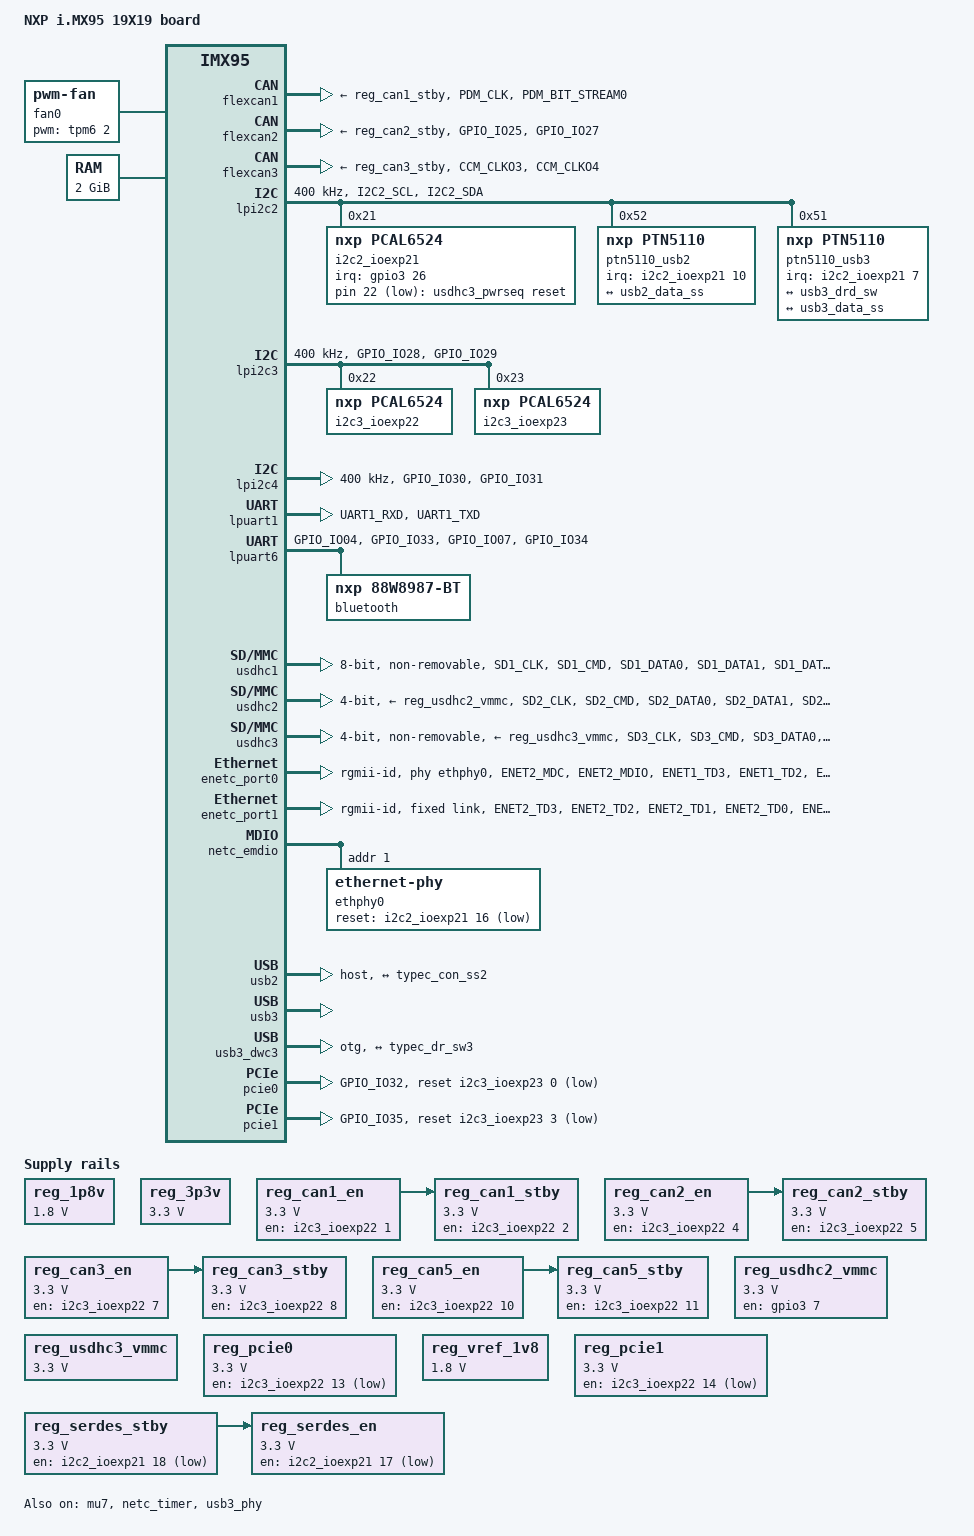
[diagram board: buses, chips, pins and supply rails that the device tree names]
// SPDX-License-Identifier: (GPL-2.0+ OR MIT)
/*
 * Copyright 2023 NXP
 */

/dts-v1/;

#include <dt-bindings/phy/phy-imx8-pcie.h>
#include <dt-bindings/pwm/pwm.h>
#include <dt-bindings/usb/pd.h>
#include "imx95.dtsi"

#define FALLING_EDGE		BIT(0)
#define RISING_EDGE		BIT(1)

#define BRD_SM_CTRL_SD3_WAKE		0x8000	/*!< PCAL6408A-0 */
#define BRD_SM_CTRL_PCIE1_WAKE		0x8001	/*!< PCAL6408A-4 */
#define BRD_SM_CTRL_BT_WAKE		0x8002	/*!< PCAL6408A-5 */
#define BRD_SM_CTRL_PCIE2_WAKE		0x8003	/*!< PCAL6408A-6 */
#define BRD_SM_CTRL_BUTTON		0x8004	/*!< PCAL6408A-7 */

/ {
	model = "NXP i.MX95 19X19 board";
	compatible = "fsl,imx95-19x19-evk", "fsl,imx95";

	aliases {
		ethernet0 = &enetc_port0;
		ethernet1 = &enetc_port2;
	};

	chosen {
		stdout-path = &lpuart1;
		#address-cells = <2>;
		#size-cells = <2>;
		/* will be updated by U-boot when booting Xen */
		module@0 {
			bootargs = "earlycon=xen console=hvc0 loglevel=8 root=/dev/mmcblk1p2 rw rootwait";
			compatible = "xen,linux-zimage", "xen,multiboot-module";
			reg = <0x00000000 0x9e000000 0x00000000 0x2000000>;
		};
	};

	fan0: pwm-fan {
		compatible = "pwm-fan";
		cooling-min-state = <0>;
		cooling-max-state = <3>;
		#cooling-cells = <2>;
		pwms = <&tpm6 2 4000000 PWM_POLARITY_INVERTED>;
		cooling-levels = <64 128 192 255>;
	};

	memory@80000000 {
		device_type = "memory";
		reg = <0x0 0x80000000 0 0x80000000>;
	};

	reserved-memory {
		#address-cells = <2>;
		#size-cells = <2>;
		ranges;

		linux_cma: linux,cma {
			compatible = "shared-dma-pool";
			reusable;
			size = <0 0x3c000000>;
			alloc-ranges = <0 0x80000000 0 0x7F000000>;
			linux,cma-default;
		};

		vpu_boot: vpu_boot@a0000000 {
			reg = <0 0xa0000000 0 0x100000>;
			no-map;
		};

		vdev0vring0: vdev0vring0@88000000 {
			reg = <0 0x88000000 0 0x8000>;
			no-map;
		};

		vdev0vring1: vdev0vring1@88008000 {
			reg = <0 0x88008000 0 0x8000>;
			no-map;
		};

		vdev1vring0: vdev1vring0@88010000 {
			reg = <0 0x88010000 0 0x8000>;
			no-map;
		};

		vdev1vring1: vdev1vring1@88018000 {
			reg = <0 0x88018000 0 0x8000>;
			no-map;
		};

		rsc_table: rsc-table@88220000 {
			reg = <0 0x88220000 0 0x1000>;
			no-map;
		};

		vdevbuffer: vdevbuffer@88020000 {
			compatible = "shared-dma-pool";
			reg = <0 0x88020000 0 0x100000>;
			no-map;
		};

		m7text: m7text@90000000 {
			reg = <0 0x90000000 0 0x400000>;
			no-map;
		};
	};

	reg_1p8v: regulator-1p8v {
		compatible = "regulator-fixed";
		regulator-max-microvolt = <1800000>;
		regulator-min-microvolt = <1800000>;
		regulator-name = "+V1.8_SW";
	};

	reg_3p3v: regulator-3p3v {
		compatible = "regulator-fixed";
		regulator-max-microvolt = <3300000>;
		regulator-min-microvolt = <3300000>;
		regulator-name = "+V3.3_SW";
	};

	reg_can1_stby: regulator-can1-stby {
		compatible = "regulator-fixed";
		regulator-name = "can1-stby";
		regulator-min-microvolt = <3300000>;
		regulator-max-microvolt = <3300000>;
		gpio = <&i2c3_ioexp22 2 GPIO_ACTIVE_HIGH>;
		enable-active-high;
		vin-supply = <&reg_can1_en>;
	};

	reg_can1_en: regulator-can1-en {
		compatible = "regulator-fixed";
		regulator-name = "can1-en";
		regulator-min-microvolt = <3300000>;
		regulator-max-microvolt = <3300000>;
		gpio = <&i2c3_ioexp22 1 GPIO_ACTIVE_HIGH>;
		enable-active-high;
	};

	reg_can2_stby: regulator-can2-stby {
		compatible = "regulator-fixed";
		regulator-name = "can2-stby";
		regulator-min-microvolt = <3300000>;
		regulator-max-microvolt = <3300000>;
		gpio = <&i2c3_ioexp22 5 GPIO_ACTIVE_HIGH>;
		enable-active-high;
		vin-supply = <&reg_can2_en>;
	};

	reg_can2_en: regulator-can2-en {
		compatible = "regulator-fixed";
		regulator-name = "can2-en";
		regulator-min-microvolt = <3300000>;
		regulator-max-microvolt = <3300000>;
		gpio = <&i2c3_ioexp22 4 GPIO_ACTIVE_HIGH>;
		enable-active-high;
	};

	reg_can3_stby: regulator-can3-stby {
		compatible = "regulator-fixed";
		regulator-name = "can3-stby";
		regulator-min-microvolt = <3300000>;
		regulator-max-microvolt = <3300000>;
		gpio = <&i2c3_ioexp22 8 GPIO_ACTIVE_HIGH>;
		enable-active-high;
		vin-supply = <&reg_can3_en>;
	};

	reg_can3_en: regulator-can3-en {
		compatible = "regulator-fixed";
		regulator-name = "can3-en";
		regulator-min-microvolt = <3300000>;
		regulator-max-microvolt = <3300000>;
		gpio = <&i2c3_ioexp22 7 GPIO_ACTIVE_HIGH>;
		enable-active-high;
	};

	reg_can5_stby: regulator-can5-stby {
		compatible = "regulator-fixed";
		regulator-name = "can5-stby";
		regulator-min-microvolt = <3300000>;
		regulator-max-microvolt = <3300000>;
		gpio = <&i2c3_ioexp22 11 GPIO_ACTIVE_HIGH>;
		enable-active-high;
		vin-supply = <&reg_can5_en>;
	};

	reg_can5_en: regulator-can5-en {
		compatible = "regulator-fixed";
		regulator-name = "can5-en";
		regulator-min-microvolt = <3300000>;
		regulator-max-microvolt = <3300000>;
		gpio = <&i2c3_ioexp22 10 GPIO_ACTIVE_HIGH>;
		enable-active-high;
	};

	reg_usdhc2_vmmc: regulator-usdhc2 {
		compatible = "regulator-fixed";
		pinctrl-names = "default";
		pinctrl-0 = <&pinctrl_reg_usdhc2_vmmc>;
		regulator-name = "VDD_SD2_3V3";
		regulator-min-microvolt = <3300000>;
		regulator-max-microvolt = <3300000>;
		gpio = <&gpio3 7 GPIO_ACTIVE_HIGH>;
		off-on-delay-us = <12000>;
		enable-active-high;
	};

	reg_usdhc3_vmmc: regulator-usdhc3 {
		compatible = "regulator-fixed";
		regulator-name = "vmmcusdhc3_fixed";
		regulator-min-microvolt = <3300000>;
		regulator-max-microvolt = <3300000>;
	};

	usdhc3_pwrseq: usdhc3-pwrseq {
		compatible = "mmc-pwrseq-simple";
		reset-gpios = <&i2c2_ioexp21 22 GPIO_ACTIVE_LOW>;
		post-power-on-delay-ms = <200>;
	};

	reg_pcie0: regulator-pcie0 {
		compatible = "regulator-fixed";
		regulator-name = "SLOT_PWREN_SDD";
		regulator-min-microvolt = <3300000>;
		regulator-max-microvolt = <3300000>;
		gpio = <&i2c3_ioexp22 13 GPIO_ACTIVE_LOW>;
		enable-active-low;
		regulator-always-on;
	};

	reg_vref_1v8: regulator-adc-vref {
		compatible = "regulator-fixed";
		regulator-name = "vref_1v8";
		regulator-min-microvolt = <1800000>;
		regulator-max-microvolt = <1800000>;
	};

	reg_pcie1: regulator-pcie1 {
		compatible = "regulator-fixed";
		regulator-name = "SLOT_PWREN_5G";
		regulator-min-microvolt = <3300000>;
		regulator-max-microvolt = <3300000>;
		gpio = <&i2c3_ioexp22 14 GPIO_ACTIVE_LOW>;
		enable-active-low;
		regulator-always-on;
	};

	reg_serdes_stby: regulator-mac-stby {
		compatible = "regulator-fixed";
		regulator-name = "mac-stby";
		regulator-min-microvolt = <3300000>;
		regulator-max-microvolt = <3300000>;
		gpio = <&i2c2_ioexp21 18 GPIO_ACTIVE_LOW>;
	};

	reg_serdes_en: regulator-mac-en {
		compatible = "regulator-fixed";
		regulator-name = "mac-en";
		regulator-min-microvolt = <3300000>;
		regulator-max-microvolt = <3300000>;
		vin-supply = <&reg_serdes_stby>;
		gpio = <&i2c2_ioexp21 17 GPIO_ACTIVE_LOW>;
	};

	cm7: imx95-cm7 {
		compatible = "fsl,imx95-cm7";
		mbox-names = "tx", "rx", "rxdb";
		mboxes = <&mu7 0 1
			  &mu7 1 1
			  &mu7 3 1>;
		memory-region = <&vdevbuffer>, <&vdev0vring0>, <&vdev0vring1>,
				<&vdev1vring0>, <&vdev1vring1>, <&rsc_table>;
		fsl,startup-delay-ms = <50>;
		status = "okay";
	};
};

&adc1 {
	vref-supply = <&reg_vref_1v8>;
	status = "disabled";
};

&displaymix_irqsteer {
	status = "disabled";
};

&dpu {
	status = "disabled";
};

/* The M7 also uses the AON.EDMA and sharing isn't supported yet in Linux */
&edma1 {
	status = "disabled";
};

&tpm3 {
	pinctrl-names = "default";
	pinctrl-0 = <&pinctrl_tpm3>;
	status = "disabled";
};

&tpm6 {
	pinctrl-names = "default";
	pinctrl-0 = <&pinctrl_tpm6>;
	pwm-rst;
	status = "disabled";
};

/* pin conflict with PDM */
&flexcan1 {
	pinctrl-names = "default";
	pinctrl-0 = <&pinctrl_flexcan1>;
	xceiver-supply = <&reg_can1_stby>;
	status = "okay";
};

&flexcan2 {
	pinctrl-names = "default";
	pinctrl-0 = <&pinctrl_flexcan2>;
	xceiver-supply = <&reg_can2_stby>;
	status = "okay";
};

&flexcan3 {
	pinctrl-names = "default";
	pinctrl-0 = <&pinctrl_flexcan3>;
	xceiver-supply = <&reg_can3_stby>;
	status = "okay";
};

&flexcan5 {
	pinctrl-names = "default";
	pinctrl-0 = <&pinctrl_flexcan5>;
	xceiver-supply = <&reg_can5_stby>;
	status = "disabled";
};

&flexspi1 {
	pinctrl-names = "default", "sleep";
	pinctrl-0 = <&pinctrl_flexspi1>;
	pinctrl-1 = <&pinctrl_flexspi1>;
	status = "disabled";

	/* TODO co-existence with M7/M33 if even possible */

	/* TODO: switch to use reset-gpios */
	//reset-gpios = <&gpio5 11 GPIO_ACTIVE_LOW>;

	pinctrl-assert-gpios = <&gpio5 11 GPIO_ACTIVE_HIGH>;

	mt35xu01gbba: flash@0 {
		reg = <0>;
		#address-cells = <1>;
		#size-cells = <1>;
		compatible = "jedec,spi-nor";
		spi-max-frequency = <200000000>;
		spi-tx-bus-width = <8>;
		spi-rx-bus-width = <8>;
	};
};

&lpi2c2 {
	#address-cells = <1>;
	#size-cells = <0>;
	clock-frequency = <400000>;
	pinctrl-names = "default", "sleep";
	pinctrl-0 = <&pinctrl_lpi2c2>;
	pinctrl-1 = <&pinctrl_lpi2c2>;
	/delete-property/ dmas;
	/delete-property/ dma-names;
	status = "okay";

	i2c2_ioexp21: i2c2-gpio@21 {
		compatible = "nxp,pcal6524";
		reg = <0x21>;
		gpio-controller;
		#gpio-cells = <2>;
		pinctrl-names = "default";
		pinctrl-0 = <&pinctrl_i2c2_ioexp21>;
		interrupt-controller;
		#interrupt-cells = <2>;
		interrupt-parent = <&gpio3>;
		interrupts = <26 IRQ_TYPE_EDGE_FALLING>;
		status = "okay";

		sja1110_sw_int_n: sja1110-sw-int-n {
			gpio-hog;
			gpios = <3 (GPIO_ACTIVE_LOW | GPIO_LINE_OPEN_DRAIN | GPIO_PULL_UP)>;
			input;
		};

		usb1_ptn_int_b: usb1-ptn-int-b {
			gpio-hog;
			gpios = <7 (GPIO_ACTIVE_LOW | GPIO_LINE_OPEN_DRAIN | GPIO_PULL_UP)>;
			input;
		};

		usb1_ptn_flt_b: usb1-ptn-flt-b {
			gpio-hog;
			gpios = <8 (GPIO_ACTIVE_LOW | GPIO_LINE_OPEN_DRAIN | GPIO_PULL_UP)>;
			input;
		};

		int_sw_usb1_b: int-sw-usb1-b {
			gpio-hog;
			gpios = <9 (GPIO_ACTIVE_LOW | GPIO_LINE_OPEN_DRAIN)>;
			input;
		};

		usb2_ptn_int_b: usb2-ptn-int-b {
			gpio-hog;
			gpios = <10 (GPIO_ACTIVE_LOW | GPIO_LINE_OPEN_DRAIN | GPIO_PULL_UP)>;
			input;
		};

		usb2_ptn_flt_b: usb2-ptn-flt-b {
			gpio-hog;
			gpios = <11 (GPIO_ACTIVE_LOW | GPIO_LINE_OPEN_DRAIN | GPIO_PULL_UP)>;
			input;
		};

		int_sw_usb2_b: int-sw-usb2-b {
			gpio-hog;
			gpios = <12 (GPIO_ACTIVE_LOW | GPIO_LINE_OPEN_DRAIN)>;
			input;
		};

		eth_clk_en: eth-clk-en {
			gpio-hog;
			gpios = <17 GPIO_ACTIVE_HIGH>;
			output-high;
		};

		si5332_rst: si5332-rst {
			gpio-hog;
			gpios = <18 GPIO_ACTIVE_HIGH>;
			output-low;
		};

		sja1110_rst_n: sja1110-rst-n {
			gpio-hog;
			gpios = <20 GPIO_ACTIVE_LOW>;
			output-low;
		};

		sja1110_rst_core_n: sja1110-rst-core-n {
			gpio-hog;
			gpios = <21 GPIO_ACTIVE_LOW>;
			output-low;
		};

		se_enable: se-enable {
			gpio-hog;
			gpios = <23 GPIO_ACTIVE_HIGH>;
			output-high;
		};
	};

	ptn5110_usb2: tcpc_usb2@52 {
		compatible = "nxp,ptn5110";
		pinctrl-names = "default";
		reg = <0x52>;
		interrupt-parent = <&i2c2_ioexp21>;
		interrupts = <10 IRQ_TYPE_EDGE_FALLING>; // 10 = USB2_PTN_INT_B

		typec_con2: connector {
			compatible = "usb-c-connector";
			label = "USB-C";
			power-role = "source";
			data-role = "dual";
			try-power-role = "source";
			source-pdos = <PDO_FIXED(5000, 3000, PDO_FIXED_USB_COMM)>;
			op-sink-microwatt = <0>;
			self-powered;

			ports {
				#address-cells = <1>;
				#size-cells = <0>;

				port@1 {
					reg = <1>;
					typec_con_ss2: endpoint {
						remote-endpoint = <&usb2_data_ss>;
					};
				};
			};
		};
	};

	ptn5110_usb3: tcpc_usb3@51 {
		compatible = "nxp,ptn5110";
		pinctrl-names = "default";
		reg = <0x51>;
		interrupt-parent = <&i2c2_ioexp21>;
		interrupts = <7 IRQ_TYPE_EDGE_FALLING>; // 7 = USB1_PTN_INT_B

		port {
			typec_dr_sw3: endpoint {
				remote-endpoint = <&usb3_drd_sw>;
			};
		};

		typec_con3: connector {
			compatible = "usb-c-connector";
			label = "USB-C";
			power-role = "source";
			data-role = "dual";
			try-power-role = "source";
			source-pdos = <PDO_FIXED(5000, 3000, PDO_FIXED_USB_COMM)>;
			op-sink-microwatt = <0>;
			self-powered;

			ports {
				#address-cells = <1>;
				#size-cells = <0>;

				port@1 {
					reg = <1>;
					typec_con_ss3: endpoint {
						remote-endpoint = <&usb3_data_ss>;
					};
				};
			};
		};
	};
};

&lpi2c3 {
	#address-cells = <1>;
	#size-cells = <0>;
	clock-frequency = <400000>;
	pinctrl-names = "default", "sleep";
	pinctrl-0 = <&pinctrl_lpi2c3>;
	pinctrl-1 = <&pinctrl_lpi2c3>;
	status = "okay";

	i2c3_ioexp22: i2c3-gpio@22 {
		compatible = "nxp,pcal6524";
		reg = <0x22>;
		gpio-controller;
		#gpio-cells = <2>;
/*
interrupt connected to pcal6416 managed by m33
		pinctrl-names = "default";
		pinctrl-0 = <&pinctrl_i2c3_ioexp22>;
		interrupt-controller;
		#interrupt-cells = <2>;
		interrupt-parent = <&gpio3>;
		interrupts = <26 IRQ_TYPE_LEVEL_LOW>;
*/
		status = "okay";

		can_power_en: can-power-en {
			gpio-hog;
			gpios = <0 GPIO_ACTIVE_HIGH>;
			output-high;
		};

		/* enable can5; used by m7 */

		can5_en: can5-en {
			gpio-hog;
			gpios = <10 GPIO_ACTIVE_HIGH>;
			output-high;
		};

		can5_stby_b: can5-stby-b {
			gpio-hog;
			gpios = <11 GPIO_ACTIVE_LOW>;
			output-low;
		};

		m2_pwren_ssd_n: m2-pwren-ssd-n {
			gpio-hog;
			gpios = <13 GPIO_ACTIVE_LOW>;
			output-high;
		};

		m2_pwren_5g_n: m2-pwren-5g-n {
			gpio-hog;
			gpios = <14 GPIO_ACTIVE_LOW>;
			output-high;
		};

		pcie1_full_card_power_off_n: full-card-power-off-n {
			gpio-hog;
			gpios = <15 GPIO_ACTIVE_LOW>;
			output-low;
		};

		usb1_wat_flg_b: usb1-wat-flg-b {
			gpio-hog;
			gpios = <16 (GPIO_ACTIVE_LOW | GPIO_LINE_OPEN_DRAIN | GPIO_PULL_UP)>;
			input;
		};

		usb2_wat_flg_b: usb2-wat-flg-b {
			gpio-hog;
			gpios = <17 (GPIO_ACTIVE_LOW | GPIO_LINE_OPEN_DRAIN | GPIO_PULL_UP)>;
			input;
		};

		enable_1v8_buffer_b: enable-1v8-buffer-b {
			gpio-hog;
			gpios = <23 GPIO_ACTIVE_LOW>;
			output-high;
		};
	};

	i2c3_ioexp23: i2c3-gpio@23 {
		compatible = "nxp,pcal6524";
		reg = <0x23>;
		gpio-controller;
		#gpio-cells = <2>;
/*
interrupt connected to pcal6416 managed by m33
		pinctrl-names = "default";
		pinctrl-0 = <&pinctrl_i2c3_ioexp23>;
		interrupt-controller;
		#interrupt-cells = <2>;
		interrupt-parent = <&gpio3>;
		interrupts = <26 IRQ_TYPE_LEVEL_LOW>;
*/
		status = "okay";

		// pcie1_w_disable_n: w-disable-n {
		// 	gpio-hog;
		// 	gpios = <9 GPIO_ACTIVE_LOW>;
		// 	output-low;
		// };

		// pcie1_pewake_n: pewake-n {
		// 	gpio-hog;
		// 	gpios = <4 GPIO_ACTIVE_LOW>;
		// 	output-low;
		// };

		// pcie1_reset_n: reset-n {
		// 	gpio-hog;
		// 	gpios = <23 GPIO_ACTIVE_LOW>;
		// 	output-low;
		// };
	};
};

&lpi2c4 {
	#address-cells = <1>;
	#size-cells = <0>;
	clock-frequency = <400000>;
	pinctrl-names = "default", "sleep";
	pinctrl-0 = <&pinctrl_lpi2c4>;
	pinctrl-1 = <&pinctrl_lpi2c4>;
	status = "okay";
};

&lpuart1 {
	/* console */
	pinctrl-names = "default";
	pinctrl-0 = <&pinctrl_uart1>;
	/delete-property/ dmas;
	/delete-property/ dma-names;
	status = "okay";
};

&lpuart6 {
	/* BT */
	pinctrl-names = "default";
	pinctrl-0 = <&pinctrl_uart6>;
	uart-has-rtscts;
	status = "okay";

	bluetooth {
		compatible = "nxp,88w8987-bt";
	};
};

&lpspi7 {
	fsl,spi-num-chipselects = <1>;
	pinctrl-names = "default", "sleep";
	pinctrl-0 = <&pinctrl_lpspi7>;
	pinctrl-1 = <&pinctrl_lpspi7>;
	cs-gpios = <&gpio2 4 GPIO_ACTIVE_LOW>;
	status = "disabled";

	spidev0: spi@0 {
		reg = <0>;
		compatible = "lwn,bk4";
		spi-max-frequency = <1000000>;
	};
};

&mu7 {
	status = "okay";
};

&usdhc1 {
	pinctrl-names = "default", "state_100mhz", "state_200mhz", "sleep";
	pinctrl-0 = <&pinctrl_usdhc1>;
	pinctrl-1 = <&pinctrl_usdhc1_100mhz>;
	pinctrl-2 = <&pinctrl_usdhc1_200mhz>;
	pinctrl-3 = <&pinctrl_usdhc1>;
	bus-width = <8>;
	non-removable;
	no-sdio;
	no-sd;
	status = "okay";
};

&usdhc2 {
	pinctrl-names = "default", "state_100mhz", "state_200mhz", "sleep";
	pinctrl-0 = <&pinctrl_usdhc2>, <&pinctrl_usdhc2_gpio>;
	pinctrl-1 = <&pinctrl_usdhc2_100mhz>, <&pinctrl_usdhc2_gpio>;
	pinctrl-2 = <&pinctrl_usdhc2_200mhz>, <&pinctrl_usdhc2_gpio>;
	pinctrl-3 = <&pinctrl_usdhc2>, <&pinctrl_usdhc2_gpio>;
	cd-gpios = <&gpio3 00 GPIO_ACTIVE_LOW>;
	vmmc-supply = <&reg_usdhc2_vmmc>;
	bus-width = <4>;
	status = "okay";
};

&usdhc3 {
	pinctrl-names = "default";
	pinctrl-0 = <&pinctrl_usdhc3>;
	vmmc-supply = <&reg_usdhc3_vmmc>;
	mmc-pwrseq = <&usdhc3_pwrseq>;
	bus-width = <4>;
	keep-power-in-suspend;
	non-removable;
	status = "okay";
};

&enetc_port0 {
	//serdes-supply = <&reg_serdes_en>; // This will make the end0 interface sometimes not getting an ip4 address. Timing?
	pinctrl-names = "default";
	pinctrl-0 = <&pinctrl_enetc0>;
	phy-handle = <&ethphy0>;
	phy-mode = "rgmii-id";
	status = "okay";
};

&enetc_port1 {
	pinctrl-names = "default";
	pinctrl-0 = <&pinctrl_enetc1>;
	phy-mode = "rgmii-id";
	status = "okay";

	fixed-link {
		speed = <1000>;
		full-duplex;
	};
};

// &enetc_port2 {
// 	//phy-handle = <&ethphy2>;
// 	//pinctrl-0 = <&pinctrl_enetc2>;
// 	//phy-mode = "sgmii-2500";
// 	//phy-mode = "2500base-x";
// 	phy-mode = "sgmii";
// 	//serdes-supply = <&reg_serdes_en>;
// 	//managed = "in-band-status";
// 	status = "okay";

//  	fixed-link {
// 		speed = <2500>;
// 		full-duplex;
// 	};
// };

&netc_timer {
	status = "okay";
};

&netc_prb_ierb {
	netc-interfaces = <NXP_NETC_RGMII
			   NXP_NETC_RGMII
			   NXP_NETC_SERIAL>;
};

&netc_emdio {
	status = "okay";
	ethphy0: ethernet-phy@1 {
		reg = <1>;
		eee-broken-1000t;
		reset-gpios = <&i2c2_ioexp21 16 GPIO_ACTIVE_LOW>;
		reset-assert-us = <10000>;
		reset-deassert-us = <80000>;
		realtek,clkout-disable;
	};
};

&usb2 {
	dr_mode = "host";
	disable-over-current;
	status = "okay";

	port {
		usb2_data_ss: endpoint {
			remote-endpoint = <&typec_con_ss2>;
		};
	};

};

&usb3 {
	status = "okay";
};

&usb3_phy {
	status = "okay";
	port {
		usb3_data_ss: endpoint {
			remote-endpoint = <&typec_con_ss3>;
		};
	};
};

&usb3_dwc3 {
	dr_mode = "otg";
	hnp-disable;
	srp-disable;
	adp-disable;
	usb-role-switch;
	role-switch-default-mode = "none";
	snps,dis-u1-entry-quirk;
	snps,dis-u2-entry-quirk;

	port {
		usb3_drd_sw: endpoint {
			remote-endpoint = <&typec_dr_sw3>;
		};
	};
};

&thermal_zones {
	a55 {
		trips {
			atrip2: trip2 {
				temperature = <55000>;
				hysteresis = <2000>;
				type = "active";
			};

			atrip3: trip3 {
				temperature = <65000>;
				hysteresis = <2000>;
				type = "active";
			};

			atrip4: trip4 {
				temperature = <75000>;
				hysteresis = <2000>;
				type = "active";
			};
		};

		cooling-maps {
			map1 {
				trip = <&atrip2>;
				cooling-device = <&fan0 0 1>;
			};

			map2 {
				trip = <&atrip3>;
				cooling-device = <&fan0 1 2>;
			};

			map3 {
				trip = <&atrip4>;
				cooling-device = <&fan0 2 3>;
			};
		};
	};

	pf09 {
		polling-delay-passive = <250>;
		polling-delay = <2000>;
		thermal-sensors = <&scmi_sensor 2>;
		trips {
			pf09_alert: trip0 {
				temperature = <140000>;
				hysteresis = <2000>;
				type = "passive";
			};

			pf09_crit: trip1 {
				temperature = <155000>;
				hysteresis = <2000>;
				type = "critical";
			};
		};
	};

	pf53_arm {
		polling-delay-passive = <250>;
		polling-delay = <2000>;
		thermal-sensors = <&scmi_sensor 4>;
		trips {
			pf5301_alert: trip0 {
				temperature = <140000>;
				hysteresis = <2000>;
				type = "passive";
			};

			pf5301_crit: trip1 {
				temperature = <155000>;
				hysteresis = <2000>;
				type = "critical";
			};
		};

		cooling-maps {
			map0 {
				trip = <&pf5301_alert>;
				cooling-device =
					<&A55_0 THERMAL_NO_LIMIT THERMAL_NO_LIMIT>,
					<&A55_1 THERMAL_NO_LIMIT THERMAL_NO_LIMIT>,
					<&A55_2 THERMAL_NO_LIMIT THERMAL_NO_LIMIT>,
					<&A55_3 THERMAL_NO_LIMIT THERMAL_NO_LIMIT>,
					<&A55_4 THERMAL_NO_LIMIT THERMAL_NO_LIMIT>,
					<&A55_5 THERMAL_NO_LIMIT THERMAL_NO_LIMIT>;
			};
		};
	};

	pf53_soc {
		polling-delay-passive = <250>;
		polling-delay = <2000>;
		thermal-sensors = <&scmi_sensor 3>;
		trips {
			pf5302_alert: trip0 {
				temperature = <140000>;
				hysteresis = <2000>;
				type = "passive";
			};

			pf5302_crit: trip1 {
				temperature = <155000>;
				hysteresis = <2000>;
				type = "critical";
			};
		};
	};
};

&scmi_misc {
	wakeup-sources = <BRD_SM_CTRL_SD3_WAKE		1
			  BRD_SM_CTRL_PCIE1_WAKE	1
			  BRD_SM_CTRL_BT_WAKE		1
			  BRD_SM_CTRL_PCIE2_WAKE	1
			  BRD_SM_CTRL_BUTTON		1>;
};

&scmi_iomuxc {
	pinctrl_tpm3: tpm3grp {
		fsl,pins = <
			IMX95_PAD_GPIO_IO12__TPM3_CH2			0x51e
		>;
	};

	pinctrl_tpm6: tpm6grp {
		fsl,pins = <
			IMX95_PAD_GPIO_IO19__TPM6_CH2			0x51e
		>;
	};

	pinctrl_flexcan1: flexcan1grp {
		fsl,pins = <
			IMX95_PAD_PDM_CLK__AONMIX_TOP_CAN1_TX		0x39e
			IMX95_PAD_PDM_BIT_STREAM0__AONMIX_TOP_CAN1_RX	0x39e
		>;
	};

	pinctrl_flexcan2: flexcan2grp {
		fsl,pins = <
			IMX95_PAD_GPIO_IO25__CAN2_TX			0x39e
			IMX95_PAD_GPIO_IO27__CAN2_RX			0x39e
		>;
	};

	pinctrl_flexcan3: flexcan3grp {
		fsl,pins = <
			IMX95_PAD_CCM_CLKO3__CAN3_TX			0x39e
			IMX95_PAD_CCM_CLKO4__CAN3_RX			0x39e
		>;
	};

	pinctrl_flexcan5: flexcan5grp {
		fsl,pins = <
			IMX95_PAD_GPIO_IO22__CAN5_TX			0x39e
			IMX95_PAD_GPIO_IO23__CAN5_RX			0x39e
		>;
	};

	pinctrl_hp: hpgrp {
		fsl,pins = <
			IMX95_PAD_GPIO_IO11__GPIO2_IO_BIT11		0x31e
		>;
	};

	pinctrl_lpi2c1: lpi2c1grp {
		fsl,pins = <
			IMX95_PAD_I2C1_SCL__AONMIX_TOP_LPI2C1_SCL	0x40000b9e
			IMX95_PAD_I2C1_SDA__AONMIX_TOP_LPI2C1_SDA	0x40000b9e
		>;
	};

	pinctrl_lpi2c2: lpi2c2grp {
		fsl,pins = <
			IMX95_PAD_I2C2_SCL__AONMIX_TOP_LPI2C2_SCL	0x40000b9e
			IMX95_PAD_I2C2_SDA__AONMIX_TOP_LPI2C2_SDA	0x40000b9e
		>;
	};

	pinctrl_lpi2c3: lpi2c3grp {
		fsl,pins = <
			IMX95_PAD_GPIO_IO28__LPI2C3_SDA			0x40000b9e
			IMX95_PAD_GPIO_IO29__LPI2C3_SCL			0x40000b9e
		>;
	};

	pinctrl_lpi2c4: lpi2c4grp {
		fsl,pins = <
			IMX95_PAD_GPIO_IO30__LPI2C4_SDA			0x40000b9e
			IMX95_PAD_GPIO_IO31__LPI2C4_SCL			0x40000b9e
		>;
	};

	pinctrl_lpi2c7: lpi2c7grp {
		fsl,pins = <
			IMX95_PAD_GPIO_IO08__LPI2C7_SDA			0x40000b9e
			IMX95_PAD_GPIO_IO09__LPI2C7_SCL			0x40000b9e
		>;
	};

	pinctrl_uart1: uart1grp {
		fsl,pins = <
			IMX95_PAD_UART1_RXD__AONMIX_TOP_LPUART1_RX      0x31e
			IMX95_PAD_UART1_TXD__AONMIX_TOP_LPUART1_TX      0x31e
		>;
	};

	pinctrl_uart6: uart6grp {
		fsl,pins = <
			IMX95_PAD_GPIO_IO04__LPUART6_TX			0x31e
			IMX95_PAD_GPIO_IO33__LPUART6_RX			0x31e
			IMX95_PAD_GPIO_IO07__LPUART6_RTS_B		0x31e
			IMX95_PAD_GPIO_IO34__LPUART6_CTS_B		0x31e
		>;
	};

	pinctrl_pcie0: pcie0grp {
		fsl,pins = <
			IMX95_PAD_GPIO_IO32__HSIOMIX_TOP_PCIE1_CLKREQ_B		0x40000b1e
		>;
	};

	pinctrl_pcie1: pcie1grp {
		fsl,pins = <
			IMX95_PAD_GPIO_IO35__HSIOMIX_TOP_PCIE2_CLKREQ_B		0x40000b1e
		>;
	};

	pinctrl_lpspi7: lpspi7grp {
		fsl,pins = <
			IMX95_PAD_GPIO_IO04__GPIO2_IO_BIT4	0x3fe
			IMX95_PAD_GPIO_IO05__LPSPI7_SIN		0x3fe
			IMX95_PAD_GPIO_IO06__LPSPI7_SOUT	0x3fe
			IMX95_PAD_GPIO_IO07__LPSPI7_SCK		0x3fe
		>;
	};

	pinctrl_enetc0: enetc0grp {
		fsl,pins = <
			IMX95_PAD_ENET2_MDC__NETCMIX_TOP_NETC_MDC		0x57e
			IMX95_PAD_ENET2_MDIO__NETCMIX_TOP_NETC_MDIO		0x97e
			IMX95_PAD_ENET1_TD3__NETCMIX_TOP_ETH0_RGMII_TD3		0x57e
			IMX95_PAD_ENET1_TD2__NETCMIX_TOP_ETH0_RGMII_TD2		0x57e
			IMX95_PAD_ENET1_TD1__NETCMIX_TOP_ETH0_RGMII_TD1		0x57e
			IMX95_PAD_ENET1_TD0__NETCMIX_TOP_ETH0_RGMII_TD0		0x57e
			IMX95_PAD_ENET1_TX_CTL__NETCMIX_TOP_ETH0_RGMII_TX_CTL	0x57e
			IMX95_PAD_ENET1_TXC__NETCMIX_TOP_ETH0_RGMII_TX_CLK	0x58e
			IMX95_PAD_ENET1_RX_CTL__NETCMIX_TOP_ETH0_RGMII_RX_CTL	0x57e
			IMX95_PAD_ENET1_RXC__NETCMIX_TOP_ETH0_RGMII_RX_CLK	0x58e
			IMX95_PAD_ENET1_RD0__NETCMIX_TOP_ETH0_RGMII_RD0		0x57e
			IMX95_PAD_ENET1_RD1__NETCMIX_TOP_ETH0_RGMII_RD1		0x57e
			IMX95_PAD_ENET1_RD2__NETCMIX_TOP_ETH0_RGMII_RD2		0x57e
			IMX95_PAD_ENET1_RD3__NETCMIX_TOP_ETH0_RGMII_RD3		0x57e
		>;
	};

	pinctrl_enetc1: enetc1grp {
		fsl,pins = <
			IMX95_PAD_ENET2_TD3__NETCMIX_TOP_ETH1_RGMII_TD3		0x03e
			IMX95_PAD_ENET2_TD2__NETCMIX_TOP_ETH1_RGMII_TD2		0x03e
			IMX95_PAD_ENET2_TD1__NETCMIX_TOP_ETH1_RGMII_TD1		0x03e
			IMX95_PAD_ENET2_TD0__NETCMIX_TOP_ETH1_RGMII_TD0		0x03e
			IMX95_PAD_ENET2_TX_CTL__NETCMIX_TOP_ETH1_RGMII_TX_CTL	0x03e
			IMX95_PAD_ENET2_TXC__NETCMIX_TOP_ETH1_RGMII_TX_CLK	0x006
			IMX95_PAD_ENET2_RX_CTL__NETCMIX_TOP_ETH1_RGMII_RX_CTL	0x03e
			IMX95_PAD_ENET2_RXC__NETCMIX_TOP_ETH1_RGMII_RX_CLK	0x006
			IMX95_PAD_ENET2_RD0__NETCMIX_TOP_ETH1_RGMII_RD0		0x03e
			IMX95_PAD_ENET2_RD1__NETCMIX_TOP_ETH1_RGMII_RD1		0x03e
			IMX95_PAD_ENET2_RD2__NETCMIX_TOP_ETH1_RGMII_RD2		0x03e
			IMX95_PAD_ENET2_RD3__NETCMIX_TOP_ETH1_RGMII_RD3		0x03e
		>;
	};

	pinctrl_flexspi1: flexspi1grp {
		fsl,pins = <
			IMX95_PAD_XSPI1_SS0_B__FLEXSPI1_A_SS0_B			0x3fe
			IMX95_PAD_XSPI1_SS1_B__GPIO5_IO_BIT11			0x3fe
			IMX95_PAD_XSPI1_SCLK__FLEXSPI1_A_SCLK			0x07e
			IMX95_PAD_XSPI1_DQS__FLEXSPI1_A_DQS			0x07e
			IMX95_PAD_XSPI1_DATA0__FLEXSPI1_A_DATA_BIT0		0x002
			IMX95_PAD_XSPI1_DATA1__FLEXSPI1_A_DATA_BIT1		0x002
			IMX95_PAD_XSPI1_DATA2__FLEXSPI1_A_DATA_BIT2		0x002
			IMX95_PAD_XSPI1_DATA3__FLEXSPI1_A_DATA_BIT3		0x002
			IMX95_PAD_XSPI1_DATA4__FLEXSPI1_A_DATA_BIT4		0x002
			IMX95_PAD_XSPI1_DATA5__FLEXSPI1_A_DATA_BIT5		0x002
			IMX95_PAD_XSPI1_DATA6__FLEXSPI1_A_DATA_BIT6		0x002
			IMX95_PAD_XSPI1_DATA7__FLEXSPI1_A_DATA_BIT7		0x002
		>;
	};

	pinctrl_i2c1_pcal6408: i2c1pcal6498grp {
		fsl,pins = <
			IMX95_PAD_PDM_BIT_STREAM1__AONMIX_TOP_GPIO1_IO_BIT10	0x31e
		>;
	};

	pinctrl_i2c2_ioexp21: i2c2pcal6524grp {
		fsl,pins = <
			IMX95_PAD_CCM_CLKO1__GPIO3_IO_BIT26			0x31e
		>;
	};

	pinctrl_i2c7_pcal6524: i2c7pcal6524grp {
		fsl,pins = <
			IMX95_PAD_GPIO_IO36__GPIO5_IO_BIT16			0x31e
		>;
	};

	pinctrl_mipi_dsi_csi: mipidsigrp {
		fsl,pins = <
			IMX95_PAD_CCM_CLKO2__GPIO3_IO_BIT27			0x31e
		>;
	};

	pinctrl_pcal6416: pcal6416grp {
		fsl,pins = <
			IMX95_PAD_CCM_CLKO3__GPIO4_IO_BIT28			0x31e
		>;
	};

	pinctrl_pdm: pdmgrp {
		fsl,pins = <
			IMX95_PAD_PDM_CLK__AONMIX_TOP_PDM_CLK				0x31e
			IMX95_PAD_PDM_BIT_STREAM0__AONMIX_TOP_PDM_BIT_STREAM_BIT0	0x31e
		>;
	};

	pinctrl_sai1: sai1grp {
		fsl,pins = <
			IMX95_PAD_SAI1_RXD0__AONMIX_TOP_SAI1_RX_DATA_BIT0    0x31e
			IMX95_PAD_SAI1_TXC__AONMIX_TOP_SAI1_TX_BCLK      0x31e
			IMX95_PAD_SAI1_TXFS__AONMIX_TOP_SAI1_TX_SYNC     0x31e
			IMX95_PAD_SAI1_TXD0__AONMIX_TOP_SAI1_TX_DATA_BIT0    0x31e
		>;
	};

	pinctrl_sai2: sai2grp {
		fsl,pins = <
			IMX95_PAD_ENET2_TD3__NETCMIX_TOP_SAI2_RX_DATA_BIT0		0x31e
			IMX95_PAD_ENET2_TD2__NETCMIX_TOP_SAI2_RX_DATA_BIT1		0x31e
			IMX95_PAD_ENET2_TXC__NETCMIX_TOP_SAI2_TX_BCLK			0x302
			IMX95_PAD_ENET2_TX_CTL__NETCMIX_TOP_SAI2_TX_SYNC		0x302
			IMX95_PAD_ENET2_RX_CTL__NETCMIX_TOP_SAI2_TX_DATA_BIT0		0x302
			IMX95_PAD_ENET2_RXC__NETCMIX_TOP_SAI2_TX_DATA_BIT1		0x302
			IMX95_PAD_ENET2_RD0__NETCMIX_TOP_SAI2_TX_DATA_BIT2		0x302
			IMX95_PAD_ENET2_RD1__NETCMIX_TOP_SAI2_TX_DATA_BIT3		0x302
			IMX95_PAD_ENET2_RD2__NETCMIX_TOP_SAI2_MCLK			0x302
		>;
	};

	pinctrl_sai3: sai3grp {
		fsl,pins = <
			IMX95_PAD_GPIO_IO17__SAI3_MCLK				0x31e
			IMX95_PAD_GPIO_IO16__SAI3_TX_BCLK			0x31e
			IMX95_PAD_GPIO_IO26__SAI3_TX_SYNC			0x31e
			IMX95_PAD_GPIO_IO20__SAI3_RX_DATA_BIT0			0x31e
			IMX95_PAD_GPIO_IO21__SAI3_TX_DATA_BIT0			0x31e
		>;
	};

	pinctrl_usdhc1: usdhc1grp {
		fsl,pins = <
			IMX95_PAD_SD1_CLK__USDHC1_CLK				0x158e
			IMX95_PAD_SD1_CMD__USDHC1_CMD				0x138e
			IMX95_PAD_SD1_DATA0__USDHC1_DATA0			0x138e
			IMX95_PAD_SD1_DATA1__USDHC1_DATA1			0x138e
			IMX95_PAD_SD1_DATA2__USDHC1_DATA2			0x138e
			IMX95_PAD_SD1_DATA3__USDHC1_DATA3			0x138e
			IMX95_PAD_SD1_DATA4__USDHC1_DATA4			0x138e
			IMX95_PAD_SD1_DATA5__USDHC1_DATA5			0x138e
			IMX95_PAD_SD1_DATA6__USDHC1_DATA6			0x138e
			IMX95_PAD_SD1_DATA7__USDHC1_DATA7			0x138e
			IMX95_PAD_SD1_STROBE__USDHC1_STROBE			0x158e
		>;
	};

	pinctrl_usdhc1_100mhz: usdhc1-100mhzgrp {
		fsl,pins = <
			IMX95_PAD_SD1_CLK__USDHC1_CLK				0x158e
			IMX95_PAD_SD1_CMD__USDHC1_CMD				0x138e
			IMX95_PAD_SD1_DATA0__USDHC1_DATA0			0x138e
			IMX95_PAD_SD1_DATA1__USDHC1_DATA1			0x138e
			IMX95_PAD_SD1_DATA2__USDHC1_DATA2			0x138e
			IMX95_PAD_SD1_DATA3__USDHC1_DATA3			0x138e
			IMX95_PAD_SD1_DATA4__USDHC1_DATA4			0x138e
			IMX95_PAD_SD1_DATA5__USDHC1_DATA5			0x138e
			IMX95_PAD_SD1_DATA6__USDHC1_DATA6			0x138e
			IMX95_PAD_SD1_DATA7__USDHC1_DATA7			0x138e
			IMX95_PAD_SD1_STROBE__USDHC1_STROBE			0x158e
		>;
	};

	pinctrl_usdhc1_200mhz: usdhc1-200mhzgrp {
		fsl,pins = <
			IMX95_PAD_SD1_CLK__USDHC1_CLK				0x15fe
			IMX95_PAD_SD1_CMD__USDHC1_CMD				0x13fe
			IMX95_PAD_SD1_DATA0__USDHC1_DATA0			0x13fe
			IMX95_PAD_SD1_DATA1__USDHC1_DATA1			0x13fe
			IMX95_PAD_SD1_DATA2__USDHC1_DATA2			0x13fe
			IMX95_PAD_SD1_DATA3__USDHC1_DATA3			0x13fe
			IMX95_PAD_SD1_DATA4__USDHC1_DATA4			0x13fe
			IMX95_PAD_SD1_DATA5__USDHC1_DATA5			0x13fe
			IMX95_PAD_SD1_DATA6__USDHC1_DATA6			0x13fe
			IMX95_PAD_SD1_DATA7__USDHC1_DATA7			0x13fe
			IMX95_PAD_SD1_STROBE__USDHC1_STROBE			0x15fe
		>;
	};

	pinctrl_reg_usdhc2_vmmc: regusdhc2vmmcgrp {
		fsl,pins = <
			IMX95_PAD_SD2_RESET_B__GPIO3_IO_BIT7			0x31e
		>;
	};

	pinctrl_usdhc2_gpio: usdhc2gpiogrp {
		fsl,pins = <
			IMX95_PAD_SD2_CD_B__GPIO3_IO_BIT0			0x31e
		>;
	};

	pinctrl_usdhc2: usdhc2grp {
		fsl,pins = <
			IMX95_PAD_SD2_CLK__USDHC2_CLK				0x158e
			IMX95_PAD_SD2_CMD__USDHC2_CMD				0x138e
			IMX95_PAD_SD2_DATA0__USDHC2_DATA0			0x138e
			IMX95_PAD_SD2_DATA1__USDHC2_DATA1			0x138e
			IMX95_PAD_SD2_DATA2__USDHC2_DATA2			0x138e
			IMX95_PAD_SD2_DATA3__USDHC2_DATA3			0x138e
			IMX95_PAD_SD2_VSELECT__USDHC2_VSELECT			0x51e
		>;
	};

	pinctrl_usdhc2_100mhz: usdhc2-100mhzgrp {
		fsl,pins = <
			IMX95_PAD_SD2_CLK__USDHC2_CLK				0x158e
			IMX95_PAD_SD2_CMD__USDHC2_CMD				0x138e
			IMX95_PAD_SD2_DATA0__USDHC2_DATA0			0x138e
			IMX95_PAD_SD2_DATA1__USDHC2_DATA1			0x138e
			IMX95_PAD_SD2_DATA2__USDHC2_DATA2			0x138e
			IMX95_PAD_SD2_DATA3__USDHC2_DATA3			0x138e
			IMX95_PAD_SD2_VSELECT__USDHC2_VSELECT			0x51e
		>;
	};

	pinctrl_usdhc2_200mhz: usdhc2-200mhzgrp {
		fsl,pins = <
			IMX95_PAD_SD2_CLK__USDHC2_CLK				0x15fe
			IMX95_PAD_SD2_CMD__USDHC2_CMD				0x13fe
			IMX95_PAD_SD2_DATA0__USDHC2_DATA0			0x13fe
			IMX95_PAD_SD2_DATA1__USDHC2_DATA1			0x13fe
			IMX95_PAD_SD2_DATA2__USDHC2_DATA2			0x13fe
			IMX95_PAD_SD2_DATA3__USDHC2_DATA3			0x13fe
			IMX95_PAD_SD2_VSELECT__USDHC2_VSELECT			0x51e
		>;
	};

	pinctrl_usdhc3: usdhc3grp {
		fsl,pins = <
			IMX95_PAD_SD3_CLK__USDHC3_CLK				0x158e
			IMX95_PAD_SD3_CMD__USDHC3_CMD				0x138e
			IMX95_PAD_SD3_DATA0__USDHC3_DATA0			0x138e
			IMX95_PAD_SD3_DATA1__USDHC3_DATA1			0x138e
			IMX95_PAD_SD3_DATA2__USDHC3_DATA2			0x138e
			IMX95_PAD_SD3_DATA3__USDHC3_DATA3			0x138e
		>;
	};
};

&vpuctrl {
	boot = <&vpu_boot>;
	sram = <&sram1>;
};

&wdog3 {
	status = "disabled";
};

&pcie0 {
	pinctrl-0 = <&pinctrl_pcie0>;
	pinctrl-names = "default";
	fsl,refclk-pad-mode = <IMX8_PCIE_REFCLK_PAD_OUTPUT>;
	reset-gpio = <&i2c3_ioexp23 0 GPIO_ACTIVE_LOW>;
	vpcie-supply = <&reg_pcie0>;
	status = "okay";
};

&pcie1 {
	pinctrl-0 = <&pinctrl_pcie1>;
	pinctrl-names = "default";
	fsl,refclk-pad-mode = <IMX8_PCIE_REFCLK_PAD_OUTPUT>;
	reset-gpio = <&i2c3_ioexp23 3 GPIO_ACTIVE_LOW>;
	vpcie-supply = <&reg_pcie1>;
	status = "okay";
};

&pcie1_ep {
	pinctrl-0 = <&pinctrl_pcie1>;
	pinctrl-names = "default";
	fsl,refclk-pad-mode = <IMX8_PCIE_REFCLK_PAD_OUTPUT>;
	vpcie-supply = <&reg_pcie1>;
	status = "okay";
};

&gpio2 {
	status = "disabled";
};


